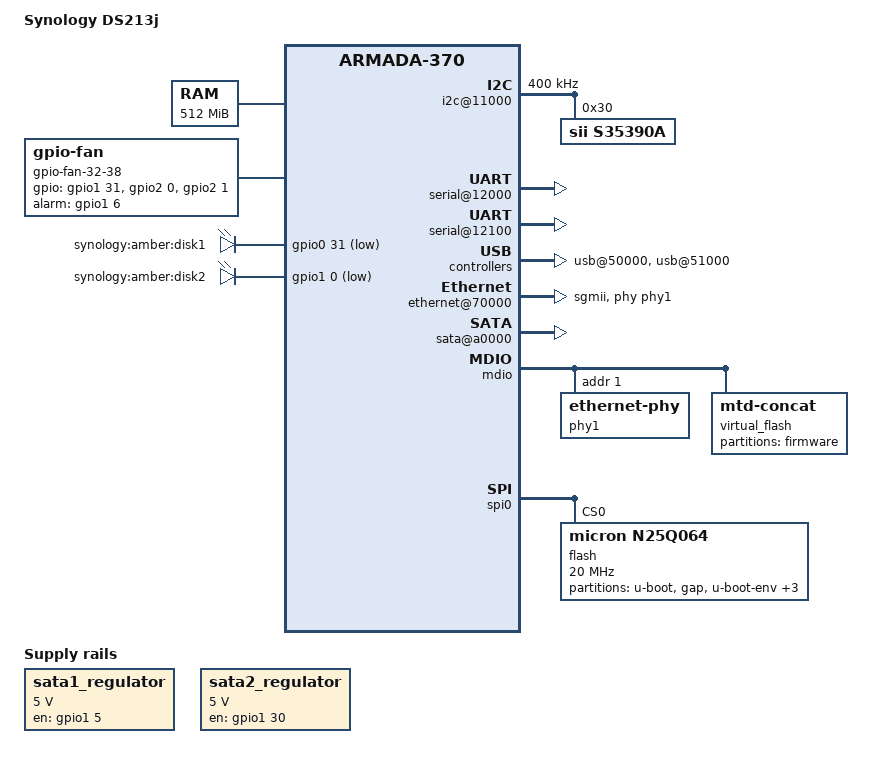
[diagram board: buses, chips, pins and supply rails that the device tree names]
// SPDX-License-Identifier: (GPL-2.0+ OR MIT)
/*
 * Device Tree file for Synology DS213j
 *
 * Copyright (C) 2014, Arnaud EBALARD <arno@natisbad.org>
 *
 * Note: this Device Tree assumes that the bootloader has remapped the
 * internal registers to 0xf1000000 (instead of the old 0xd0000000).
 * The 0xf1000000 is the default used by the recent, DT-capable, U-Boot
 * bootloaders provided by Marvell. It is used in recent versions of
 * DSM software provided by Synology. Nonetheless, some earlier boards
 * were delivered with an older version of u-boot that left internal
 * registers mapped at 0xd0000000. If you have such a device you will
 * not be able to directly boot a kernel based on this Device Tree. In
 * that case, the preferred solution is to update your bootloader (e.g.
 * by upgrading to latest version of DSM, or building a new one and
 * installing it from u-boot prompt) or adjust the Devive Tree
 * (s/0xf1000000/0xd0000000/ in 'ranges' below).
 */

/dts-v1/;

#include <dt-bindings/input/input.h>
#include <dt-bindings/gpio/gpio.h>
#include "armada-370.dtsi"

/ {
	model = "Synology DS213j";
	compatible = "synology,ds213j", "marvell,armada370",
		     "marvell,armada-370-xp";

	chosen {
		stdout-path = "serial0:115200n8";
		append-rootblock = "nullparameter="; /* override the bootloader args */
	};

	memory@0 {
		device_type = "memory";
		reg = <0x00000000 0x20000000>; /* 512 MB */
	};

	soc {
		ranges = <MBUS_ID(0xf0, 0x01) 0 0xf1000000 0x100000
			  MBUS_ID(0x01, 0xe0) 0 0xfff00000 0x100000
			  MBUS_ID(0x09, 0x01) 0 0xf1100000 0x10000>;

		internal-regs {

			/* RTC provided by Seiko S-35390A I2C RTC chip below */
			rtc@10300 {
				status = "disabled";
			};

			i2c@11000 {
				compatible = "marvell,mv64xxx-i2c";
				pinctrl-0 = <&i2c0_pins>;
				pinctrl-names = "default";
				clock-frequency = <400000>;
				status = "okay";

				/* Main device RTC chip */
				s35390a: s35390a@30 {
					 compatible = "sii,s35390a";
					 reg = <0x30>;
				};
			};

			/* Connected to a header on device's PCB */
			serial@12000 {
				status = "okay";
			};

			/* Connected to a TI MSP430F2111 for power control */
			serial@12100 {
				status = "okay";
			};

			poweroff@12100 {
				compatible = "synology,power-off";
				reg = <0x12100 0x100>;
				clocks = <&coreclk 0>;
			};

			/* rear USB port, near reset button */
			usb@50000 {
				status = "okay";
			};

			/* rear USB port, near RJ45 port */
			usb@51000 {
				status = "okay";
			};

			ethernet@70000 {
				status = "okay";
				phy = <&phy1>;
				phy-mode = "sgmii";
				nvmem-cells = <&macaddr_vendor_0>;
				nvmem-cell-names = "mac-address";
			};

			sata@a0000 {
				nr-ports = <2>;
				status = "okay";
			};
		};
	};

	gpio-fan-32-38 {
		status = "okay";
		compatible = "gpio-fan";
		pinctrl-0 = <&fan_ctrl_low_pin &fan_ctrl_mid_pin
			     &fan_ctrl_high_pin &fan_alarm_pin>;
		pinctrl-names = "default";
		gpios = <&gpio1 31 GPIO_ACTIVE_HIGH
			 &gpio2  0 GPIO_ACTIVE_HIGH
			 &gpio2  1 GPIO_ACTIVE_HIGH>;
		alarm-gpios = <&gpio1 6 GPIO_ACTIVE_HIGH>;
		gpio-fan,speed-map = <    0 0
				       1000 1
				       1150 2
				       1350 4
				       1500 3
				       1650 5
				       1750 6
				       1900 7 >;
	};

	gpio-leds {
		compatible = "gpio-leds";
		pinctrl-0 = <&disk1_led_pin
			     &disk2_led_pin>;
		pinctrl-names = "default";

		disk1-led-amber {
			label = "synology:amber:disk1";
			gpios = <&gpio0 31 GPIO_ACTIVE_LOW>;
			default-state = "keep";
		};

		disk2-led-amber {
			label = "synology:amber:disk2";
			gpios = <&gpio1 0 GPIO_ACTIVE_LOW>;
			default-state = "keep";
		};
	};

	sata1_regulator: sata1-regulator-1 {
		compatible = "regulator-fixed";
		regulator-name = "SATA1 Power";
		regulator-min-microvolt = <5000000>;
		regulator-max-microvolt = <5000000>;
		startup-delay-us = <2000000>;
		enable-active-high;
		regulator-always-on;
		regulator-boot-on;
		gpio = <&gpio1 5 GPIO_ACTIVE_HIGH>;
		pinctrl-0 = <&sata1_pwr_pin>;
		pinctrl-names = "default";
	};

	sata2_regulator: sata2-regulator-2 {
		compatible = "regulator-fixed";
		regulator-name = "SATA2 Power";
		regulator-min-microvolt = <5000000>;
		regulator-max-microvolt = <5000000>;
		startup-delay-us = <4000000>;
		enable-active-high;
		regulator-always-on;
		regulator-boot-on;
		gpio = <&gpio1 30 GPIO_ACTIVE_HIGH>;
		pinctrl-0 = <&sata2_pwr_pin>;
		pinctrl-names = "default";
	};
};

&mdio {
	phy1: ethernet-phy@1 { /* Marvell 88E1512 */
		reg = <1>;
	};

	virtual_flash {
		compatible = "mtd-concat";

		devices = <&mtd_kernel &mtd_gap &mtd_gap2>;

		partitions {
			compatible = "fixed-partitions";
			#address-cells = <1>;
			#size-cells = <1>;

			partition@0 {
				compatible = "openwrt,uimage", "denx,uimage";
				label = "firmware";
				reg = <0x0 0x0>;
			};
		};
	};
};

&pinctrl {
	disk1_led_pin: disk1-led-pin {
		marvell,pins = "mpp31";
		marvell,function = "gpio";
	};

	disk2_led_pin: disk2-led-pin {
		marvell,pins = "mpp32";
		marvell,function = "gpio";
	};

	sata1_pwr_pin: sata1-pwr-pin {
		marvell,pins = "mpp37";
		marvell,function = "gpio";
	};

	sata2_pwr_pin: sata2-pwr-pin {
		marvell,pins = "mpp62";
		marvell,function = "gpio";
	};

	sata1_pres_pin: sata1-pres-pin {
		marvell,pins = "mpp60";
		marvell,function = "gpio";
	};

	sata2_pres_pin: sata2-pres-pin {
		marvell,pins = "mpp48";
		marvell,function = "gpio";
	};

	syno_id_bit0_pin: syno-id-bit0-pin {
		marvell,pins = "mpp55";
		marvell,function = "gpio";
	};

	syno_id_bit1_pin: syno-id-bit1-pin {
		marvell,pins = "mpp56";
		marvell,function = "gpio";
	};

	syno_id_bit2_pin: syno-id-bit2-pin {
		marvell,pins = "mpp57";
		marvell,function = "gpio";
	};

	syno_id_bit3_pin: syno-id-bit3-pin {
		marvell,pins = "mpp58";
		marvell,function = "gpio";
	};

	fan_ctrl_low_pin: fan-ctrl-low-pin {
		marvell,pins = "mpp65";
		marvell,function = "gpio";
	};

	fan_ctrl_mid_pin: fan-ctrl-mid-pin {
		marvell,pins = "mpp64";
		marvell,function = "gpio";
	};

	fan_ctrl_high_pin: fan-ctrl-high-pin {
		marvell,pins = "mpp63";
		marvell,function = "gpio";
	};

	fan_alarm_pin: fan-alarm-pin {
		marvell,pins = "mpp38";
		marvell,function = "gpio";
	};
};

&spi0 {
	status = "okay";

	flash@0 {
		#address-cells = <1>;
		#size-cells = <1>;
		compatible = "micron,n25q064", "jedec,spi-nor";
		reg = <0>; /* Chip select 0 */
		spi-max-frequency = <20000000>;

		partitions {
			compatible = "fixed-partitions";

			partition@0 { /* u-boot */
				label = "u-boot";
				reg = <0x00000000 0x000c0000>; /* 768KB */
				read-only;
			};

			mtd_gap: partition@c0000 { /* gap */
				label = "gap";
				reg = <0x000c0000 0x00040000>; /* 256KB */
			};

			partition@100000 { /* u-boot-env */
				label = "u-boot-env";
				reg = <0x00100000 0x00010000>; /* 64KB */
			};

			mtd_kernel: partition@110000 {
				label = "kernel";
				reg = <0x00110000 0x006c0000>; /* 6912KB */
			};

			partition@7d0000 { /* MAC address and serial number */
				reg = <0x007d0000 0x00010000>; /* 64KB */
				label = "vendor";
				read-only;

				compatible = "nvmem-cells";

				nvmem-layout {
					compatible = "fixed-layout";
					#address-cells = <1>;
					#size-cells = <1>;

					macaddr_vendor_0: macaddr@0 {
						reg = <0x0 0x6>;
					};
				};
			};

			mtd_gap2: partition@7e0000 {
				label = "gap2";
				reg = <0x007e0000 0x00020000>; /* 128KB */
			};
		};
	};
};
